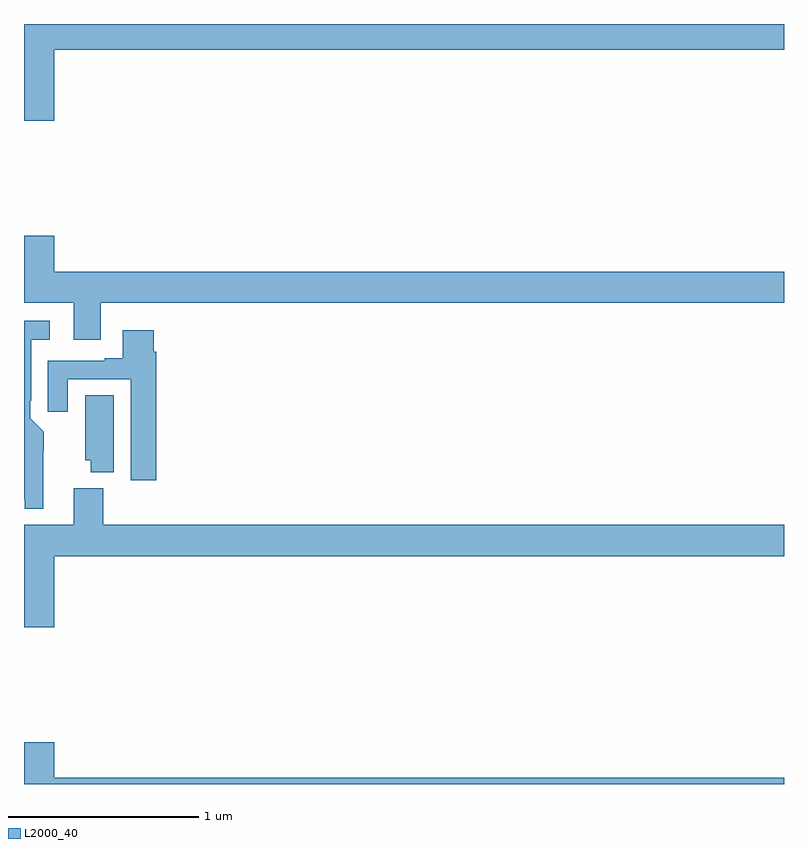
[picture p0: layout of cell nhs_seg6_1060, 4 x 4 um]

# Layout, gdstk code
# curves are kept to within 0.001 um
import gdstk
lib = gdstk.Library(unit=1e-6, precision=1e-09)
def P(c, l, *ps):  # polygons
    for p in ps: c.add(gdstk.Polygon(p, *l))
L2000_40 = (2000, 40)

nhs_seg6_1060 = lib.new_cell('nhs_seg6_1060')
P(nhs_seg6_1060, L2000_40, [(177.16,919.364),(181,919.364),(181,919.5),(177,919.5),(177,918.99),(177.16,918.99)],
  [(177.403,918.032),(181,918.032),(181,918.196),(177.16,918.196),(177.16,918.385),(177,918.385),(177,918.032),(177.263,918.032),(177.263,917.838),(177.403,917.838)],
  [(177.102,917.252),(177.103,917.354),(177.033,917.424),(177.033,917.518),(177.037,917.518),(177.037,917.837),(177.136,917.837),(177.136,917.938),(177,917.938),(177,917),(177.005,917),(177.005,916.949),(177.102,916.949)],
  [(177.695,917.774),(177.682,917.774),(177.682,917.887),(177.521,917.887),(177.521,917.74),(177.425,917.74),(177.425,917.727),(177.125,917.727),(177.125,917.46),(177.229,917.46),(177.229,917.631),(177.563,917.631),(177.563,917.1),(177.695,917.1)],
  [(177.472,917.546),(177.323,917.546),(177.323,917.205),(177.35,917.205),(177.35,917.141),(177.472,917.141)],
  [(177.16,916.7),(181,916.7),(181,916.864),(177.416,916.864),(177.416,917.056),(177.263,917.056),(177.263,916.864),(177,916.864),(177,916.326),(177.16,916.326)],
  [(181,915.532),(177.16,915.532),(177.16,915.721),(177,915.721),(177,915.5),(181,915.5)])

lib.write_gds('nhs_seg6_1060.gds')
